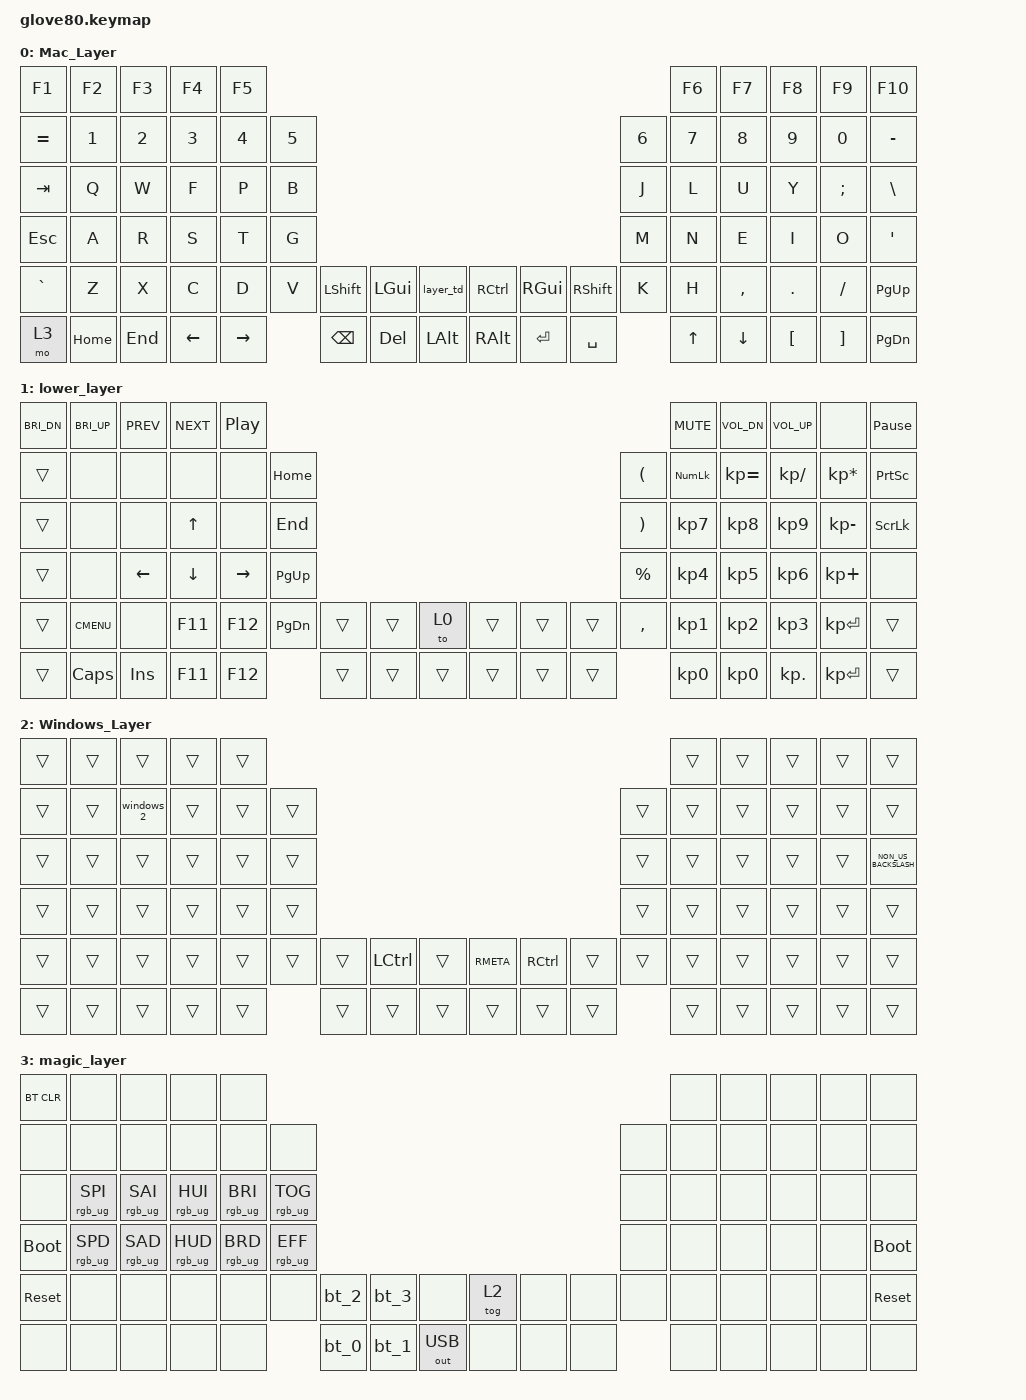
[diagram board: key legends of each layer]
/*
 * Copyright (c) 2020 The ZMK Contributors
 *
 * SPDX-License-Identifier: MIT
 */

#include <behaviors.dtsi>
#include <dt-bindings/zmk/bt.h>
#include <dt-bindings/zmk/keys.h>
#include <dt-bindings/zmk/outputs.h>
#include <dt-bindings/zmk/rgb.h>

// layers

#define DEFAULT 0
#define LOWER 1
#define MAGIC 2

/ {
    behaviors {
        // For the "layer" key, it'd nice to be able to use it as either a shift or a toggle.
        // Configure it as a tap dance, so the first tap (or hold) is a &mo and the second tap is a &to

        layer_td: tap_dance_0 {
            compatible = "zmk,behavior-tap-dance";
            #binding-cells = <0>;
            tapping-term-ms = <200>;
            bindings = <&mo 1>, <&to 1>;
        };

        windows_at: windows_at {
            compatible = "zmk,behavior-macro";
            #binding-cells = <0>;
            bindings =
                <&macro_press>,
                <&kp LALT>,
                <&macro_tap>,
                <&kp KP_N6 &kp KP_N4>,
                <&macro_release>,
                <&kp LALT>;
        };

        windows_2: windows_2 {
            compatible = "zmk,behavior-mod-morph";
            #binding-cells = <0>;
            bindings = <&kp N2>, <&windows_at>;

            mods = <(MOD_LSFT|MOD_RSFT)>;
        };
    };

    macros {
        bt_0: bt_profile_macro_0 {
            compatible = "zmk,behavior-macro";
            #binding-cells = <0>;
            bindings = <&out OUT_BLE &bt BT_SEL 0>;
        };

        bt_1: bt_profile_macro_1 {
            compatible = "zmk,behavior-macro";
            #binding-cells = <0>;
            bindings = <&out OUT_BLE &bt BT_SEL 1>;
        };

        bt_2: bt_profile_macro_2 {
            compatible = "zmk,behavior-macro";
            #binding-cells = <0>;
            bindings = <&out OUT_BLE &bt BT_SEL 2>;
        };

        bt_3: bt_profile_macro_3 {
            compatible = "zmk,behavior-macro";
            #binding-cells = <0>;
            bindings = <&out OUT_BLE &bt BT_SEL 3>;
        };
    };

    keymap {
        compatible = "zmk,keymap";

        Mac_Layer {
            // ---------------------------------------------------------------------------------------------------------------------------------
            // |  F1   |  F2 |  F3 |  F4  |  F5  |                                                               |  F6   |  F7   |  F8  |   F9  |  F10 |
            // |  =    |  1  |  2  |  3   |  4   |  5   |                                                 |  6   |   7   |   8   |  9   |   0   |   -  |
            // |  TAB  |  Q  |  W  |  E   |  R   |  T   |                                                 |  Y   |   U   |   I   |  O   |   P   |   \  |
            // |  ESC  |  A  |  S  |  D   |  F   |  G   |                                                 |  H   |   J   |   K   |  L   |   ;   |   '  |
            // |   `   |  Z  |  X  |  C   |  V   |  B   | LSHFT | LCTRL | LOWER | | LGUI  | RCTRL | RSHFT |  N   |   M   |   ,   |  .   |   /   | PGUP |
            // | MAGIC | HOME| END | LEFT | RIGHT|      | BSPC  | DEL   | LALT  | | RALT  | RET   | SPACE |      |  UP   | DOWN  |  [   |   ]   | PGDN |

            bindings = <
&kp F1     &kp F2    &kp F3   &kp F4    &kp F5                                                                                                &kp F6  &kp F7     &kp F8    &kp F9         &kp F10
&kp EQUAL  &kp N1    &kp N2   &kp N3    &kp N4     &kp N5                                                                             &kp N6  &kp N7  &kp N8     &kp N9    &kp N0         &kp MINUS
&kp TAB    &kp Q     &kp W    &kp F     &kp P      &kp B                                                                              &kp J   &kp L   &kp U      &kp Y     &kp SEMICOLON  &kp BSLH
&kp ESC    &kp A     &kp R    &kp S     &kp T      &kp G                                                                              &kp M   &kp N   &kp E      &kp I     &kp O          &kp SQT
&kp GRAVE  &kp Z     &kp X    &kp C     &kp D      &kp V   &kp LSHFT  &kp LEFT_GUI  &layer_td    &kp RCTRL  &kp RIGHT_GUI  &kp RSHFT  &kp K   &kp H   &kp COMMA  &kp DOT   &kp FSLH       &kp PG_UP
&mo 3      &kp HOME  &kp END  &kp LEFT  &kp RIGHT          &kp BSPC   &kp DEL       &kp LALT     &kp RALT   &kp RET        &kp SPACE          &kp UP  &kp DOWN   &kp LBKT  &kp RBKT       &kp PG_DN
            >;
        };

        lower_layer {
            bindings = <
&kp C_BRI_DN  &kp C_BRI_UP  &kp C_PREV  &kp C_NEXT  &kp C_PP                                                                           &kp C_MUTE  &kp C_VOL_DN  &kp C_VOL_UP   &none            &kp PAUSE_BREAK
&trans        &none         &none       &none       &none      &kp HOME                                                     &kp LPAR   &kp KP_NUM  &kp KP_EQUAL  &kp KP_DIVIDE  &kp KP_MULTIPLY  &kp PSCRN
&trans        &none         &none       &kp UP      &none      &kp END                                                      &kp RPAR   &kp KP_N7   &kp KP_N8     &kp KP_N9      &kp KP_MINUS     &kp SLCK
&trans        &none         &kp LEFT    &kp DOWN    &kp RIGHT  &kp PG_UP                                                    &kp PRCNT  &kp KP_N4   &kp KP_N5     &kp KP_N6      &kp KP_PLUS      &none
&trans        &kp K_CMENU   &none       &kp F11     &kp F12    &kp PG_DN  &trans  &trans  &to 0     &trans  &trans  &trans  &kp COMMA  &kp KP_N1   &kp KP_N2     &kp KP_N3      &kp KP_ENTER     &trans
&trans        &kp CAPS      &kp INS     &kp F11     &kp F12               &trans  &trans  &trans    &trans  &trans  &trans             &kp KP_N0   &kp KP_N0     &kp KP_DOT     &kp KP_ENTER     &trans
            >;
        };

        Windows_Layer {
            bindings = <
&trans  &trans  &trans      &trans  &trans                                                                             &trans  &trans  &trans  &trans  &trans
&trans  &trans  &windows_2  &trans  &trans  &trans                                                             &trans  &trans  &trans  &trans  &trans  &trans
&trans  &trans  &trans      &trans  &trans  &trans                                                             &trans  &trans  &trans  &trans  &trans  &kp NON_US_BACKSLASH
&trans  &trans  &trans      &trans  &trans  &trans                                                             &trans  &trans  &trans  &trans  &trans  &trans
&trans  &trans  &trans      &trans  &trans  &trans  &trans  &kp LCTRL  &trans    &kp RMETA  &kp RCTRL  &trans  &trans  &trans  &trans  &trans  &trans  &trans
&trans  &trans  &trans      &trans  &trans          &trans  &trans     &trans    &trans     &trans     &trans          &trans  &trans  &trans  &trans  &trans
            >;
        };

        magic_layer {
            bindings = <
&bt BT_CLR   &none            &none            &none            &none                                                                                        &none  &none  &none  &none  &none
&none        &none            &none            &none            &none            &none                                                                &none  &none  &none  &none  &none  &none
&none        &rgb_ug RGB_SPI  &rgb_ug RGB_SAI  &rgb_ug RGB_HUI  &rgb_ug RGB_BRI  &rgb_ug RGB_TOG                                                      &none  &none  &none  &none  &none  &none
&bootloader  &rgb_ug RGB_SPD  &rgb_ug RGB_SAD  &rgb_ug RGB_HUD  &rgb_ug RGB_BRD  &rgb_ug RGB_EFF                                                      &none  &none  &none  &none  &none  &bootloader
&sys_reset   &none            &none            &none            &none            &none            &bt_2  &bt_3  &none           &tog 2  &none  &none  &none  &none  &none  &none  &none  &sys_reset
&none        &none            &none            &none            &none                             &bt_0  &bt_1  &out OUT_USB    &none   &none  &none         &none  &none  &none  &none  &none
            >;
        };
    };
};
